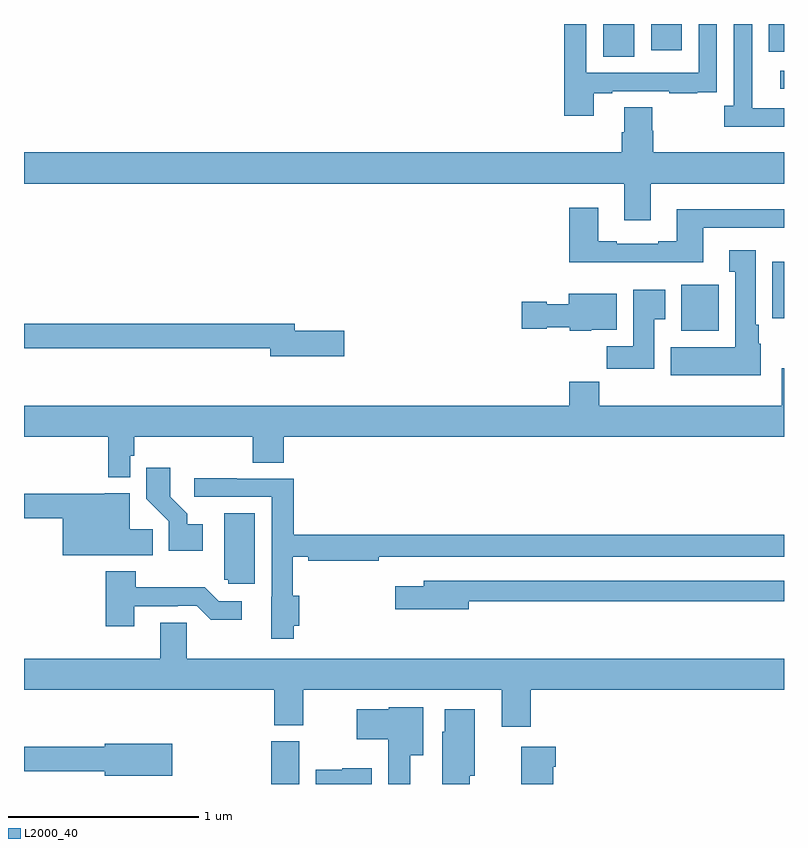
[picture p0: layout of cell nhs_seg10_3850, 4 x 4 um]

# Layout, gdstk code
import gdstk
lib = gdstk.Library(unit=1e-6, precision=1e-09)
def R(c, l, rs):  # rectangles x0, y0, x1, y1
    for r in rs: c.add(gdstk.rectangle(r[:2], r[2:], *l))
def P(c, l, *ps):  # polygons
    for p in ps: c.add(gdstk.Polygon(p, *l))
L2000_40 = (2000, 40)

nhs_seg10_3850 = lib.new_cell('nhs_seg10_3850')
R(nhs_seg10_3850, L2000_40, [(324.302,1286.5,324.448,1286.724), (326.459,1288.886,326.656,1289.128), (326.939,1288.952,327,1289.248), (326.979,1290.159,327,1290.255), (326.048,1290.328,326.212,1290.5), (326.921,1290.353,327,1290.5), (326.3,1290.363,326.461,1290.5)])
P(nhs_seg10_3850, L2000_40, [(325.999,1290.135),(326.095,1290.135),(326.095,1290.147),(326.395,1290.147),(326.395,1290.135),(326.543,1290.135),(326.543,1290.141),(326.645,1290.141),(326.645,1290.25),(326.646,1290.25),(326.646,1290.5),(326.55,1290.5),(326.55,1290.243),(325.959,1290.243),(325.959,1290.5),(325.843,1290.5),(325.843,1290.018),(325.999,1290.018)],
  [(327,1290.057),(326.833,1290.057),(326.833,1290.257),(326.832,1290.257),(326.832,1290.5),(326.736,1290.5),(326.736,1290.07),(326.685,1290.07),(326.685,1289.96),(327,1289.96)],
  [(326.299,1289.66),(327,1289.66),(327,1289.824),(326.312,1289.824),(326.312,1289.937),(326.307,1289.937),(326.307,1290.062),(326.159,1290.062),(326.159,1289.93),(326.147,1289.93),(326.147,1289.824),(323,1289.824),(323,1289.66),(326.159,1289.66),(326.159,1289.466),(326.299,1289.466)],
  [(326.575,1289.427),(327,1289.427),(327,1289.524),(326.435,1289.524),(326.435,1289.356),(326.339,1289.356),(326.339,1289.343),(326.119,1289.343),(326.119,1289.356),(326.023,1289.356),(326.023,1289.533),(325.871,1289.533),(325.871,1289.246),(326.575,1289.246)],
  [(326.878,1288.818),(326.866,1288.818),(326.866,1288.918),(326.851,1288.918),(326.851,1289.308),(326.711,1289.308),(326.711,1289.195),(326.744,1289.195),(326.744,1288.798),(326.405,1288.798),(326.405,1288.652),(326.878,1288.652)],
  [(326.317,1288.945),(326.374,1288.945),(326.374,1289.101),(326.207,1289.101),(326.207,1288.804),(326.068,1288.804),(326.068,1288.686),(326.317,1288.686)],
  [(325.986,1288.892),(326.119,1288.892),(326.119,1289.08),(325.868,1289.08),(325.868,1289.026),(325.752,1289.026),(325.752,1289.039),(325.62,1289.039),(325.62,1288.897),(325.752,1288.897),(325.752,1288.904),(325.872,1288.904),(325.872,1288.886),(325.986,1288.886)],
  [(324.685,1288.886),(324.424,1288.886),(324.424,1288.922),(323,1288.922),(323,1288.794),(324.296,1288.794),(324.296,1288.751),(324.685,1288.751)],
  [(323.559,1288.227),(323.579,1288.227),(323.579,1288.328),(324.203,1288.328),(324.203,1288.192),(324.368,1288.192),(324.368,1288.328),(327,1288.328),(327,1288.687),(326.987,1288.687),(326.987,1288.492),(326.027,1288.492),(326.027,1288.616),(325.871,1288.616),(325.871,1288.492),(323,1288.492),(323,1288.328),(323.443,1288.328),(323.443,1288.115),(323.559,1288.115)],
  [(323.941,1287.868),(323.86,1287.868),(323.86,1287.923),(323.77,1288.013),(323.77,1288.165),(323.644,1288.165),(323.644,1288.002),(323.763,1287.883),(323.763,1287.728),(323.941,1287.728)],
  [(324.419,1287.332),(324.449,1287.332),(324.449,1287.49),(324.415,1287.49),(324.415,1287.695),(324.496,1287.695),(324.496,1287.676),(324.866,1287.676),(324.866,1287.696),(327,1287.696),(327,1287.812),(324.419,1287.812),(324.419,1288.107),(324.119,1288.107),(324.119,1288.11),(323.895,1288.11),(323.895,1288.011),(324.303,1288.011),(324.303,1287.486),(324.302,1287.486),(324.302,1287.264),(324.419,1287.264)],
  [(323.678,1287.842),(323.557,1287.842),(323.557,1288.03),(323.424,1288.03),(323.424,1288.027),(323,1288.027),(323,1287.898),(323.204,1287.898),(323.204,1287.704),(323.678,1287.704)],
  [(324.214,1287.925),(324.053,1287.925),(324.053,1287.576),(324.075,1287.576),(324.075,1287.555),(324.214,1287.555)],
  [(323.581,1287.435),(323.81,1287.435),(323.81,1287.438),(323.91,1287.438),(323.983,1287.365),(324.145,1287.365),(324.145,1287.462),(324.024,1287.462),(323.951,1287.535),(323.589,1287.535),(323.589,1287.619),(323.429,1287.619),(323.429,1287.33),(323.581,1287.33)],
  [(325.342,1287.462),(327,1287.462),(327,1287.57),(325.103,1287.57),(325.103,1287.541),(324.954,1287.541),(324.954,1287.419),(325.342,1287.419)],
  [(325.667,1286.996),(327,1286.996),(327,1287.16),(323.856,1287.16),(323.856,1287.35),(323.717,1287.35),(323.717,1287.16),(323,1287.16),(323,1286.996),(324.317,1286.996),(324.317,1286.809),(324.469,1286.809),(324.469,1286.996),(325.514,1286.996),(325.514,1286.802),(325.667,1286.802)],
  [(325.033,1286.651),(325.102,1286.651),(325.102,1286.905),(324.921,1286.905),(324.921,1286.893),(324.75,1286.893),(324.75,1286.735),(324.917,1286.735),(324.917,1286.5),(325.033,1286.5)],
  [(325.345,1286.544),(325.372,1286.544),(325.372,1286.893),(325.214,1286.893),(325.214,1286.775),(325.202,1286.775),(325.202,1286.5),(325.345,1286.5)],
  [(323.779,1286.713),(323.426,1286.713),(323.426,1286.695),(323,1286.695),(323,1286.566),(323.426,1286.566),(323.426,1286.543),(323.779,1286.543)],
  [(325.786,1286.591),(325.799,1286.591),(325.799,1286.695),(325.616,1286.695),(325.616,1286.5),(325.786,1286.5)],
  [(324.829,1286.584),(324.675,1286.584),(324.675,1286.575),(324.536,1286.575),(324.536,1286.5),(324.829,1286.5)])

lib.write_gds('nhs_seg10_3850.gds')
